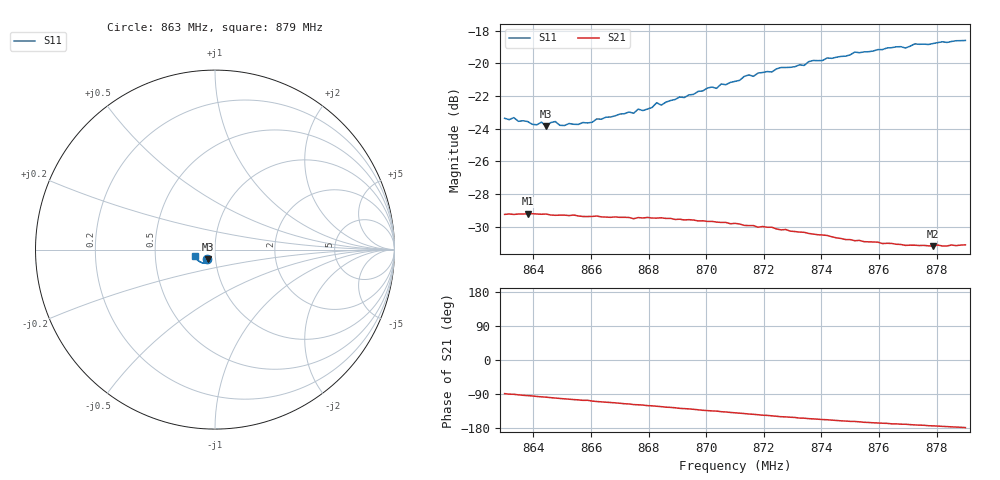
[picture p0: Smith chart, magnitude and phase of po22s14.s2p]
# HZ S RI R 50
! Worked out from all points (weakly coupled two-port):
!   101 points, 863 MHz to 879 MHz, reference 50 ohm
!   highest |S21| = -29.21 dB at 863.8 MHz (marker M1); lowest = -31.2 dB at 877.88 MHz (marker M2)
!   lowest |S11| = -23.8 dB at 864.44 MHz (marker M3), VSWR 1.14, Z = 46.2 - j4.88 ohm
!   |S11| at or under -10 dB: start of sweep to end of sweep
!   S12 and S22 are empty: the file has one direction only
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8.63e8  -0.0432 -0.0524  0.000802 -0.0345  0 0  0 0
8.638e8  -0.0397 -0.0532  -0.00237 -0.0346  0 0  0 0
8.6412e8  -0.0378 -0.0527  -0.00376 -0.0344  0 0  0 0
8.6428e8  -0.0366 -0.055  -0.00432 -0.0342  0 0  0 0
8.6444e8  -0.037 -0.0526  -0.00487 -0.0342  0 0  0 0
8.6476e8  -0.0373 -0.0549  -0.00618 -0.0337  0 0  0 0
8.6508e8  -0.0345 -0.0545  -0.0074 -0.0335  0 0  0 0
8.6572e8  -0.0336 -0.0567  -0.00964 -0.0326  0 0  0 0
8.6748e8  -0.0323 -0.0625  -0.0155 -0.0296  0 0  0 0
8.6764e8  -0.0342 -0.0639  -0.0159 -0.0297  0 0  0 0
8.6812e8  -0.0346 -0.0646  -0.0173 -0.0288  0 0  0 0
8.6828e8  -0.0355 -0.067  -0.0178 -0.0285  0 0  0 0
8.6844e8  -0.0344 -0.0661  -0.0184 -0.0282  0 0  0 0
8.6908e8  -0.0389 -0.0687  -0.0204 -0.0264  0 0  0 0
8.71e8  -0.0484 -0.0736  -0.0245 -0.0211  0 0  0 0
8.7148e8  -0.0516 -0.0765  -0.0253 -0.0194  0 0  0 0
8.7164e8  -0.0508 -0.0759  -0.0256 -0.019  0 0  0 0
8.734e8  -0.0649 -0.0742  -0.0272 -0.0135  0 0  0 0
8.7372e8  -0.069 -0.0753  -0.0273 -0.0125  0 0  0 0
8.7644e8  -0.0934 -0.0613  -0.0275 -0.00564  0 0  0 0
8.7788e8  -0.1041 -0.0489  -0.0274 -0.00302  0 0  0 0
8.79e8  -0.1112 -0.0383  -0.0278 -0.000823  0 0  0 0
